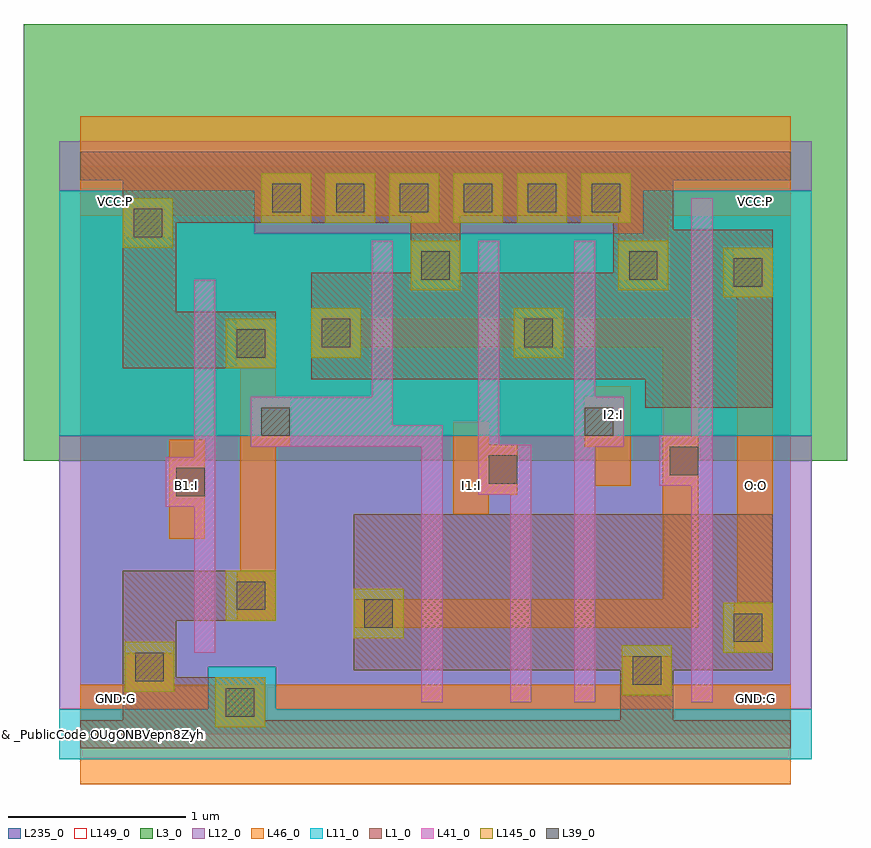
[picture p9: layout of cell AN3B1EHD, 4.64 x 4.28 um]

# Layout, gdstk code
from math import pi, radians
import gdstk
lib = gdstk.Library(unit=1e-6, precision=1e-09)
def R(c, l, rs):  # rectangles x0, y0, x1, y1
    for r in rs: c.add(gdstk.rectangle(r[:2], r[2:], *l))
def P(c, l, *ps):  # polygons
    for p in ps: c.add(gdstk.Polygon(p, *l))
L1_0 = (1, 0)
L3_0 = (3, 0)
L11_0 = (11, 0)
L12_0 = (12, 0)
L39_0 = (39, 0)
L41_0 = (41, 0)
L46_0 = (46, 0)
L145_0 = (145, 0)
L149_0 = (149, 0)
L235_0 = (235, 0)

c_pc = lib.new_cell('PC')
R(c_pc, L39_0, [(-0.08,-0.08,0.08,0.08)])
R(c_pc, L41_0, [(-0.14,-0.14,0.14,0.14)])
R(c_pc, L46_0, [(-0.08,-0.14,0.08,0.14)])

c_mc = lib.new_cell('MC')
R(c_mc, L39_0, [(-0.08,-0.08,0.08,0.08)])
R(c_mc, L46_0, [(-0.08,-0.14,0.08,0.14)])
R(c_mc, L145_0, [(-0.14,-0.14,0.14,0.14)])

jhlenmoecke__41gum4xw0 = lib.new_cell('JHLENMOECKE$$41Gum4XW0')
R(jhlenmoecke__41gum4xw0, L1_0, [(0,-0.08,4,0.08), (0.54,0.08,1.04,0.32), (1.54,0.36,3.04,1.24), (1.3,2,1.86,2.6), (0,3.12,4,3.28)])
P(jhlenmoecke__41gum4xw0, L1_0, [(1.1,0.92),(0.24,0.92),(0.24,0.08),(0.54,0.08),(0.54,0.64),(1.1,0.64)],
  [(0.54,3.12),(0.24,3.12),(0.24,2.06),(1.1,2.06),(1.1,2.38),(0.54,2.38)],
  [(3.9,1.24),(3.04,1.24),(3.04,0.08),(3.34,0.08),(3.34,0.36),(3.9,0.36)],
  [(3.9,2.84),(3.34,2.84),(3.34,3.12),(3,3.12),(3,2.6),(2.14,2.6),(2.14,2.88),(3,2.88),(3,3.12),(0.54,3.12),(0.54,2.88),(1.86,2.88),(1.86,2),(3.18,2),(3.18,1.84),(3.9,1.84)])
R(jhlenmoecke__41gum4xw0, L3_0, [(-0.32,1.54,4.32,4)])
R(jhlenmoecke__41gum4xw0, L11_0, [(-0.12,-0.14,4.12,0.14), (-0.12,-0.14,4.12,0.14), (0.72,0.14,1.1,0.38)])
P(jhlenmoecke__41gum4xw0, L11_0, [(4.12,3.06),(3.17,3.06),(3.17,2.82),(0.98,2.82),(0.98,3.06),(-0.12,3.06),(-0.12,1.68),(4.12,1.68)])
P(jhlenmoecke__41gum4xw0, L12_0, [(4.12,1.68),(-0.12,1.68),(-0.12,0.14),(0.72,0.14),(0.72,0.38),(1.1,0.38),(1.1,0.14),(4.12,0.14)],
  [(4.12,3.34),(-0.12,3.34),(-0.12,3.06),(0.98,3.06),(0.98,2.82),(3.17,2.82),(3.17,3.06),(4.12,3.06)])
R(jhlenmoecke__41gum4xw0, L41_0, [(0.96,1.62,1.76,1.9)])
R(jhlenmoecke__41gum4xw0, L46_0, [(0.25,0.28,0.53,0.46), (3.28,0.76,3.4,2.18), (1.3,2.12,1.58,2.4), (1.86,2.56,2.14,2.92), (3.03,2.56,3.31,2.92)])
R(jhlenmoecke__41gum4xw0, L149_0, [(0,0,4,3.2)])
R(jhlenmoecke__41gum4xw0, L235_0, [(0,0,4,3.2), (0,0,4,3.2), (0,0,4,3.2), (0,0,4,3.2), (0,0,4,3.2), (0,0,4,3.2), (0,0,4,3.2), (0,0,4,3.2), (0,0,4,3.2), (0,0,4,3.2), (0,0,4,3.2), (0,0,4,3.2)])
jhlenmoecke__41gum4xw0.add(gdstk.FlexPath([(0,0),(4,0)], 0.56, ends="flush", simple_path=True, layer=46, datatype=0))  # L46_0
jhlenmoecke__41gum4xw0.add(gdstk.FlexPath([(0,3.2),(4,3.2)], 0.56, ends="flush", simple_path=True, layer=46, datatype=0))  # L46_0
jhlenmoecke__41gum4xw0.add(gdstk.FlexPath([(0.6,1.1),(0.6,1.66)], 0.2, ends="flush", simple_path=True, layer=46, datatype=0))  # L46_0
jhlenmoecke__41gum4xw0.add(gdstk.FlexPath([(1,0.64),(1,2.34)], 0.2, ends="flush", simple_path=True, layer=46, datatype=0))  # L46_0
jhlenmoecke__41gum4xw0.add(gdstk.FlexPath([(3,1.4),(3,1.96)], 0.2, ends="flush", simple_path=True, layer=46, datatype=0))  # L46_0
jhlenmoecke__41gum4xw0.add(gdstk.FlexPath([(2.2,1.24),(2.2,1.76)], 0.2, ends="flush", simple_path=True, layer=46, datatype=0))  # L46_0
jhlenmoecke__41gum4xw0.add(gdstk.FlexPath([(3.8,0.46),(3.8,2.74)], 0.2, ends="flush", simple_path=True, layer=46, datatype=0))  # L46_0
jhlenmoecke__41gum4xw0.add(gdstk.FlexPath([(1.3,2.26),(3.4,2.26),(3.4,0.68),(1.54,0.68)], 0.16, ends="flush", simple_path=True, layer=46, datatype=0))  # L46_0
jhlenmoecke__41gum4xw0.add(gdstk.FlexPath([(0.6,0),(0.6,3.2)], 0, ends="flush", simple_path=True, layer=145, datatype=0))  # L145_0
jhlenmoecke__41gum4xw0.add(gdstk.FlexPath([(1,0),(1,3.2)], 0, ends="flush", simple_path=True, layer=145, datatype=0))  # L145_0
jhlenmoecke__41gum4xw0.add(gdstk.FlexPath([(1.4,0),(1.4,3.2)], 0, ends="flush", simple_path=True, layer=145, datatype=0))  # L145_0
jhlenmoecke__41gum4xw0.add(gdstk.FlexPath([(1.8,0),(1.8,3.2)], 0, ends="flush", simple_path=True, layer=145, datatype=0))  # L145_0
jhlenmoecke__41gum4xw0.add(gdstk.FlexPath([(2.2,0),(2.2,3.2)], 0, ends="flush", simple_path=True, layer=145, datatype=0))  # L145_0
jhlenmoecke__41gum4xw0.add(gdstk.FlexPath([(2.6,0),(2.6,3.2)], 0, ends="flush", simple_path=True, layer=145, datatype=0))  # L145_0
jhlenmoecke__41gum4xw0.add(gdstk.FlexPath([(3,0),(3,3.2)], 0, ends="flush", simple_path=True, layer=145, datatype=0))  # L145_0
jhlenmoecke__41gum4xw0.add(gdstk.FlexPath([(3.4,0),(3.4,3.2)], 0, ends="flush", simple_path=True, layer=145, datatype=0))  # L145_0
jhlenmoecke__41gum4xw0.add(gdstk.FlexPath([(0,3),(4,3)], 0, ends="flush", simple_path=True, layer=145, datatype=0))  # L145_0
jhlenmoecke__41gum4xw0.add(gdstk.FlexPath([(3.8,0),(3.8,3.2)], 0, ends="flush", simple_path=True, layer=145, datatype=0))  # L145_0
jhlenmoecke__41gum4xw0.add(gdstk.FlexPath([(0,0.2),(4,0.2)], 0, ends="flush", simple_path=True, layer=145, datatype=0))  # L145_0
jhlenmoecke__41gum4xw0.add(gdstk.FlexPath([(0,0.6),(4,0.6)], 0, ends="flush", simple_path=True, layer=145, datatype=0))  # L145_0
jhlenmoecke__41gum4xw0.add(gdstk.FlexPath([(0,1),(4,1)], 0, ends="flush", simple_path=True, layer=145, datatype=0))  # L145_0
jhlenmoecke__41gum4xw0.add(gdstk.FlexPath([(0,1.4),(4,1.4)], 0, ends="flush", simple_path=True, layer=145, datatype=0))  # L145_0
jhlenmoecke__41gum4xw0.add(gdstk.FlexPath([(0,1.8),(4,1.8)], 0, ends="flush", simple_path=True, layer=145, datatype=0))  # L145_0
jhlenmoecke__41gum4xw0.add(gdstk.FlexPath([(0,2.2),(4,2.2)], 0, ends="flush", simple_path=True, layer=145, datatype=0))  # L145_0
jhlenmoecke__41gum4xw0.add(gdstk.FlexPath([(0,2.6),(4,2.6)], 0, ends="flush", simple_path=True, layer=145, datatype=0))  # L145_0
jhlenmoecke__41gum4xw0.add(gdstk.FlexPath([(0.2,0),(0.2,3.2)], 0, ends="flush", simple_path=True, layer=145, datatype=0))  # L145_0
jhlenmoecke__41gum4xw0.add(gdstk.FlexPath([(2.84,0.18),(2.84,2.78)], 0.12, ends="flush", simple_path=True, layer=41, datatype=0))  # L41_0
jhlenmoecke__41gum4xw0.add(gdstk.FlexPath([(0.7,0.46),(0.7,2.56)], 0.12, ends="flush", simple_path=True, layer=41, datatype=0))  # L41_0
jhlenmoecke__41gum4xw0.add(gdstk.FlexPath([(2.3,2.78),(2.3,1.57),(2.48,1.57),(2.48,0.18)], 0.12, ends="flush", simple_path=True, layer=41, datatype=0))  # L41_0
jhlenmoecke__41gum4xw0.add(gdstk.FlexPath([(1.7,2.78),(1.7,1.68),(1.98,1.68),(1.98,0.18)], 0.12, ends="flush", simple_path=True, layer=41, datatype=0))  # L41_0
jhlenmoecke__41gum4xw0.add(gdstk.FlexPath([(3.5,0.18),(3.5,3.02)], 0.12, ends="flush", simple_path=True, layer=41, datatype=0))  # L41_0
r = gdstk.Reference(c_pc, (2.38,1.49)); r.repetition = gdstk.Repetition(1, 1, v1=(0.28,0), v2=(0,0.32)); jhlenmoecke__41gum4xw0.add(r)
r = gdstk.Reference(c_pc, (3.4,1.54)); r.repetition = gdstk.Repetition(1, 1, v1=(0.28,0), v2=(0,0.32)); jhlenmoecke__41gum4xw0.add(r)
r = gdstk.Reference(c_pc, (1.1,1.76)); r.repetition = gdstk.Repetition(1, 1, v1=(0.28,0), v2=(0,0.32)); jhlenmoecke__41gum4xw0.add(r)
r = gdstk.Reference(c_pc, (0.62,1.42)); r.repetition = gdstk.Repetition(1, 1, v1=(0.28,0), v2=(0,0.32)); jhlenmoecke__41gum4xw0.add(r)
r = gdstk.Reference(c_pc, (2.92,1.76)); r.repetition = gdstk.Repetition(1, 1, v1=(0.28,0), v2=(0,0.32)); jhlenmoecke__41gum4xw0.add(r)
r = gdstk.Reference(c_mc, (3.76,2.6)); r.repetition = gdstk.Repetition(1, 1, v1=(0.28,0), v2=(0,0.32)); jhlenmoecke__41gum4xw0.add(r)
r = gdstk.Reference(c_mc, (2.6,3.02), rotation=pi/2); r.repetition = gdstk.Repetition(1, 1, v1=(0,0.28), v2=(-0.32,0)); jhlenmoecke__41gum4xw0.add(r)
r = gdstk.Reference(c_mc, (1.68,0.68), rotation=pi/2); r.repetition = gdstk.Repetition(1, 1, v1=(0,0.28), v2=(-0.32,0)); jhlenmoecke__41gum4xw0.add(r)
r = gdstk.Reference(c_mc, (3.76,0.6)); r.repetition = gdstk.Repetition(1, 1, v1=(0.28,0), v2=(0,0.32)); jhlenmoecke__41gum4xw0.add(r)
r = gdstk.Reference(c_mc, (3.19,0.36), rotation=pi/2); r.repetition = gdstk.Repetition(1, 1, v1=(0,0.28), v2=(-0.32,0)); jhlenmoecke__41gum4xw0.add(r)
r = gdstk.Reference(c_mc, (3.17,2.64), rotation=pi/2); r.repetition = gdstk.Repetition(1, 1, v1=(0,0.28), v2=(-0.32,0)); jhlenmoecke__41gum4xw0.add(r)
r = gdstk.Reference(c_mc, (1.44,2.26), rotation=pi/2); r.repetition = gdstk.Repetition(1, 1, v1=(0,0.28), v2=(-0.32,0)); jhlenmoecke__41gum4xw0.add(r)
r = gdstk.Reference(c_mc, (2,2.64), rotation=pi/2); r.repetition = gdstk.Repetition(1, 1, v1=(0,0.28), v2=(-0.32,0)); jhlenmoecke__41gum4xw0.add(r)
r = gdstk.Reference(c_mc, (1.52,3.02), rotation=pi/2); r.repetition = gdstk.Repetition(1, 1, v1=(0,0.28), v2=(-0.32,0)); jhlenmoecke__41gum4xw0.add(r)
r = gdstk.Reference(c_mc, (2.96,3.02), rotation=pi/2); r.repetition = gdstk.Repetition(1, 1, v1=(0,0.28), v2=(-0.32,0)); jhlenmoecke__41gum4xw0.add(r)
r = gdstk.Reference(c_mc, (2.24,3.02), rotation=pi/2); r.repetition = gdstk.Repetition(1, 1, v1=(0,0.28), v2=(-0.32,0)); jhlenmoecke__41gum4xw0.add(r)
r = gdstk.Reference(c_mc, (1.88,3.02), rotation=pi/2); r.repetition = gdstk.Repetition(1, 1, v1=(0,0.28), v2=(-0.32,0)); jhlenmoecke__41gum4xw0.add(r)
r = gdstk.Reference(c_mc, (0.96,0.78)); r.repetition = gdstk.Repetition(1, 1, v1=(0.28,0), v2=(0,0.32)); jhlenmoecke__41gum4xw0.add(r)
r = gdstk.Reference(c_mc, (0.96,2.2)); r.repetition = gdstk.Repetition(1, 1, v1=(0.28,0), v2=(0,0.32)); jhlenmoecke__41gum4xw0.add(r)
r = gdstk.Reference(c_mc, (0.38,2.88), rotation=pi/2); r.repetition = gdstk.Repetition(1, 1, v1=(0,0.28), v2=(-0.32,0)); jhlenmoecke__41gum4xw0.add(r)
r = gdstk.Reference(c_mc, (0.39,0.38), rotation=pi/2); r.repetition = gdstk.Repetition(1, 1, v1=(0,0.28), v2=(-0.32,0)); jhlenmoecke__41gum4xw0.add(r)
r = gdstk.Reference(c_mc, (0.9,0.18), rotation=pi/2); r.repetition = gdstk.Repetition(1, 1, v1=(0,0.28), v2=(-0.32,0)); jhlenmoecke__41gum4xw0.add(r)
r = gdstk.Reference(c_mc, (1.16,3.02), rotation=pi/2); r.repetition = gdstk.Repetition(1, 1, v1=(0,0.28), v2=(-0.32,0)); jhlenmoecke__41gum4xw0.add(r)
r = gdstk.Reference(c_mc, (2.58,2.26), rotation=pi/2); r.repetition = gdstk.Repetition(1, 1, v1=(0,0.28), v2=(-0.32,0)); jhlenmoecke__41gum4xw0.add(r)
jhlenmoecke__41gum4xw0.add(gdstk.Label('#Id:7JQJaQKD4XF6RXVV5bbXNLABMd92ZLRaK99JL0406EKC574D4A3EOSP8MXXWHY99T6WBH22210RAL9', (0.02,0.02), layer=147, texttype=0))
jhlenmoecke__41gum4xw0.add(gdstk.Label('AN3B1EHD', (0,0), layer=144, texttype=0))
jhlenmoecke__41gum4xw0.add(gdstk.Label('VCC:P', (0.2,3), layer=101, texttype=0))
jhlenmoecke__41gum4xw0.add(gdstk.Label('VCC:P', (3.8,3), layer=101, texttype=0))
jhlenmoecke__41gum4xw0.add(gdstk.Label('GND:G', (0.2,0.2), layer=101, texttype=0))
jhlenmoecke__41gum4xw0.add(gdstk.Label('GND:G', (3.8,0.2), layer=101, texttype=0))
jhlenmoecke__41gum4xw0.add(gdstk.Label('B1:I', (0.6,1.4), layer=101, texttype=0))
jhlenmoecke__41gum4xw0.add(gdstk.Label('O:O', (3.8,1.4), layer=101, texttype=0))
jhlenmoecke__41gum4xw0.add(gdstk.Label('I2:I', (3,1.8), layer=101, texttype=0))
jhlenmoecke__41gum4xw0.add(gdstk.Label('I1:I', (2.2,1.4), layer=101, texttype=0))

an3b1ehd = lib.new_cell('AN3B1EHD')
R(an3b1ehd, L149_0, [(0,0,4,3.2)])
an3b1ehd.add(gdstk.Reference(jhlenmoecke__41gum4xw0, (0,0)))
an3b1ehd.add(gdstk.Label('& _PublicCode OUgONBVepn8Zyhuhb7nzKSFGv0ozQ4p7', (0,0), layer=3, texttype=0))
an3b1ehd.add(gdstk.Label('& Metric 12.80', (0,0), layer=3, texttype=0))
an3b1ehd.add(gdstk.Label('& Version 2009Q1V3.0', (0,0), layer=3, texttype=0))
an3b1ehd.add(gdstk.Label('& Product FSC0H_D_GENERIC_CORE', (0,0), layer=3, texttype=0))
an3b1ehd.add(gdstk.Label('& Vendor Faraday_Technology_Corp.', (0,0), layer=3, texttype=0))
an3b1ehd.add(gdstk.Label('#Id:7JQJaQKD4XF6RXVV5bbXNLABMd92ZLRaK99JL0406EKC574D4A3EOSP8MXXWHY99T6WBH22210RAL9', (0.02,0.02), layer=147, texttype=0))
an3b1ehd.add(gdstk.Label('AN3B1EHD', (0,0), layer=144, texttype=0))
an3b1ehd.add(gdstk.Label('VCC:P', (0.2,3), layer=101, texttype=0))
an3b1ehd.add(gdstk.Label('VCC:P', (3.8,3), layer=101, texttype=0))
an3b1ehd.add(gdstk.Label('GND:G', (0.2,0.2), layer=101, texttype=0))
an3b1ehd.add(gdstk.Label('GND:G', (3.8,0.2), layer=101, texttype=0))
an3b1ehd.add(gdstk.Label('B1:I', (0.6,1.4), layer=101, texttype=0))
an3b1ehd.add(gdstk.Label('O:O', (3.8,1.4), layer=101, texttype=0))
an3b1ehd.add(gdstk.Label('I2:I', (3,1.8), layer=101, texttype=0))
an3b1ehd.add(gdstk.Label('I1:I', (2.2,1.4), layer=101, texttype=0))

lib.write_gds('AN3B1EHD.gds')
